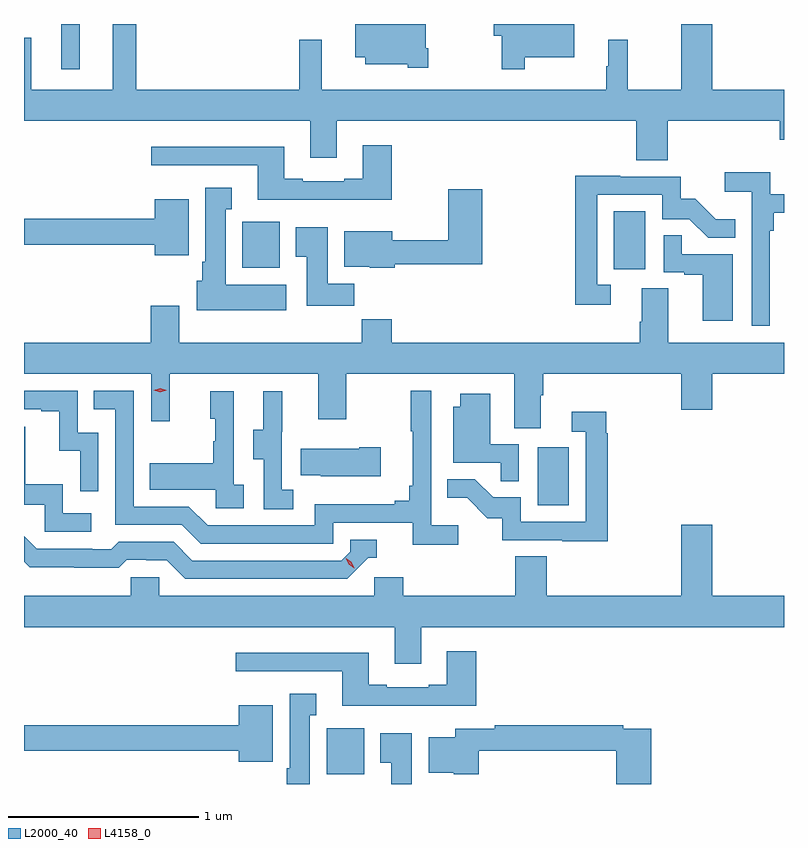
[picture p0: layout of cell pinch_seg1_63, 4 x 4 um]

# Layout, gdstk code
import gdstk
lib = gdstk.Library(unit=1e-6, precision=1e-09)
def R(c, l, rs):  # rectangles x0, y0, x1, y1
    for r in rs: c.add(gdstk.rectangle(r[:2], r[2:], *l))
def P(c, l, *ps):  # polygons
    for p in ps: c.add(gdstk.Polygon(p, *l))
L2000_40 = (2000, 40)
L4158_0 = (4158, 0)

pinch_seg1_63 = lib.new_cell('pinch_seg1_63')
R(pinch_seg1_63, L2000_40, [(1026.278,569.606,1026.475,569.848), (1027.388,571.02,1027.552,571.327), (1027.79,572.262,1027.954,572.569), (1025.834,572.27,1026.031,572.512), (1024.88,573.315,1024.978,573.554)])
P(pinch_seg1_63, L2000_40, [(1028.072,573.044),(1028.663,573.044),(1028.663,572.946),(1028.685,572.946),(1028.685,573.208),(1028.308,573.208),(1028.308,573.554),(1028.144,573.554),(1028.144,573.208),(1027.862,573.208),(1027.862,573.472),(1027.76,573.472),(1027.76,573.332),(1027.749,573.332),(1027.749,573.208),(1026.252,573.208),(1026.252,573.472),(1026.133,573.472),(1026.133,573.208),(1025.275,573.208),(1025.275,573.554),(1025.153,573.554),(1025.153,573.208),(1024.723,573.208),(1024.723,573.481),(1024.685,573.481),(1024.685,573.044),(1026.191,573.044),(1026.191,572.85),(1026.331,572.85),(1026.331,573.044),(1027.907,573.044),(1027.907,572.836),(1028.072,572.836)],
  [(1026.813,573.427),(1026.799,573.427),(1026.799,573.554),(1026.428,573.554),(1026.428,573.38),(1026.482,573.38),(1026.482,573.341),(1026.705,573.341),(1026.705,573.323),(1026.813,573.323)],
  [(1027.321,573.38),(1027.582,573.38),(1027.582,573.554),(1027.158,573.554),(1027.158,573.491),(1027.2,573.491),(1027.2,573.315),(1027.321,573.315)],
  [(1026.62,572.917),(1026.467,572.917),(1026.467,572.74),(1026.371,572.74),(1026.371,572.727),(1026.151,572.727),(1026.151,572.74),(1026.055,572.74),(1026.055,572.908),(1025.355,572.908),(1025.355,572.811),(1025.915,572.811),(1025.915,572.63),(1026.62,572.63)],
  [(1028.61,572.465),(1028.63,572.465),(1028.63,572.561),(1028.685,572.561),(1028.685,572.658),(1028.612,572.658),(1028.612,572.774),(1028.373,572.774),(1028.373,572.672),(1028.514,572.672),(1028.514,571.965),(1028.61,571.965)],
  [(1027.774,572.181),(1027.701,572.181),(1027.701,572.655),(1028.043,572.655),(1028.043,572.526),(1028.187,572.526),(1028.285,572.428),(1028.429,572.428),(1028.429,572.527),(1028.325,572.527),(1028.218,572.634),(1028.142,572.634),(1028.142,572.751),(1027.823,572.751),(1027.823,572.756),(1027.585,572.756),(1027.585,572.076),(1027.774,572.076)],
  [(1026.064,572.182),(1025.746,572.182),(1025.746,572.579),(1025.779,572.579),(1025.779,572.692),(1025.639,572.692),(1025.639,572.302),(1025.624,572.302),(1025.624,572.202),(1025.594,572.202),(1025.594,572.048),(1026.064,572.048)],
  [(1026.635,572.289),(1027.097,572.289),(1027.097,572.683),(1026.919,572.683),(1026.919,572.417),(1026.622,572.417),(1026.622,572.464),(1026.371,572.464),(1026.371,572.276),(1026.504,572.276),(1026.504,572.27),(1026.635,572.27)],
  [(1025.551,572.632),(1025.372,572.632),(1025.372,572.528),(1024.685,572.528),(1024.685,572.392),(1025.372,572.392),(1025.372,572.336),(1025.551,572.336)],
  [(1026.422,572.188),(1026.283,572.188),(1026.283,572.485),(1026.116,572.485),(1026.116,572.329),(1026.173,572.329),(1026.173,572.07),(1026.422,572.07)],
  [(1028.416,572.343),(1028.147,572.343),(1028.147,572.441),(1028.052,572.441),(1028.052,572.247),(1028.159,572.247),(1028.159,572.235),(1028.258,572.235),(1028.258,571.992),(1028.416,571.992)],
  [(1027.405,571.6),(1027.418,571.6),(1027.418,571.712),(1028.144,571.712),(1028.144,571.524),(1028.308,571.524),(1028.308,571.712),(1028.685,571.712),(1028.685,571.876),(1028.077,571.876),(1028.077,572.162),(1027.937,572.162),(1027.937,571.988),(1027.925,571.988),(1027.925,571.876),(1026.62,571.876),(1026.62,572),(1026.463,572),(1026.463,571.876),(1025.503,571.876),(1025.503,572.071),(1025.351,572.071),(1025.351,571.876),(1024.685,571.876),(1024.685,571.712),(1025.355,571.712),(1025.355,571.464),(1025.453,571.464),(1025.453,571.712),(1026.233,571.712),(1026.233,571.473),(1026.381,571.473),(1026.381,571.712),(1027.265,571.712),(1027.265,571.426),(1027.405,571.426)],
  [(1026.97,570.916),(1026.828,570.916),(1026.828,571.624),(1026.72,571.624),(1026.72,571.411),(1026.731,571.411),(1026.731,571.123),(1026.712,571.123),(1026.712,571.046),(1026.635,571.046),(1026.635,571.027),(1026.216,571.027),(1026.216,570.915),(1025.652,570.915),(1025.553,571.014),(1025.262,571.014),(1025.262,571.623),(1025.053,571.623),(1025.053,571.527),(1025.166,571.527),(1025.166,570.918),(1025.516,570.918),(1025.615,570.819),(1026.312,570.819),(1026.312,570.93),(1026.731,570.93),(1026.731,570.814),(1026.97,570.814)],
  [(1025.076,571.404),(1024.968,571.404),(1024.968,571.623),(1024.685,571.623),(1024.685,571.527),(1024.775,571.527),(1024.775,571.515),(1024.871,571.515),(1024.871,571.307),(1024.98,571.307),(1024.98,571.095),(1025.076,571.095)],
  [(1026.102,571.103),(1026.042,571.103),(1026.042,571.407),(1026.044,571.407),(1026.044,571.621),(1025.945,571.621),(1025.945,571.419),(1025.891,571.419),(1025.891,571.264),(1025.946,571.264),(1025.946,571),(1026.102,571)],
  [(1025.842,571.13),(1025.79,571.13),(1025.79,571.621),(1025.666,571.621),(1025.666,571.476),(1025.692,571.476),(1025.692,571.358),(1025.682,571.358),(1025.682,571.243),(1025.347,571.243),(1025.347,571.103),(1025.694,571.103),(1025.694,571.005),(1025.842,571.005)],
  [(1027.29,571.341),(1027.138,571.341),(1027.138,571.609),(1026.98,571.609),(1026.98,571.54),(1026.944,571.54),(1026.944,571.245),(1027.195,571.245),(1027.195,571.147),(1027.29,571.147)],
  [(1027.757,571.4),(1027.75,571.4),(1027.75,571.513),(1027.569,571.513),(1027.569,571.407),(1027.641,571.407),(1027.641,570.933),(1027.299,570.933),(1027.299,571.062),(1027.154,571.062),(1027.057,571.159),(1026.913,571.159),(1026.913,571.061),(1027.017,571.061),(1027.124,570.954),(1027.201,570.954),(1027.201,570.837),(1027.519,570.837),(1027.519,570.832),(1027.757,570.832)],
  [(1025.038,570.978),(1024.89,570.978),(1024.89,571.132),(1024.691,571.132),(1024.691,571.435),(1024.685,571.435),(1024.685,571.023),(1024.794,571.023),(1024.794,570.882),(1025.038,570.882)],
  [(1026.562,571.326),(1026.449,571.326),(1026.449,571.318),(1026.142,571.318),(1026.142,571.178),(1026.247,571.178),(1026.247,571.175),(1026.562,571.175)],
  [(1026.775,570.38),(1028.685,570.38),(1028.685,570.544),(1028.308,570.544),(1028.308,570.919),(1028.144,570.919),(1028.144,570.544),(1027.436,570.544),(1027.436,570.752),(1027.271,570.752),(1027.271,570.544),(1026.68,570.544),(1026.68,570.642),(1026.528,570.642),(1026.528,570.544),(1025.397,570.544),(1025.397,570.642),(1025.247,570.642),(1025.247,570.544),(1024.685,570.544),(1024.685,570.38),(1026.635,570.38),(1026.635,570.186),(1026.775,570.186)],
  [(1026.498,570.744),(1026.541,570.744),(1026.541,570.84),(1026.402,570.84),(1026.402,570.777),(1026.354,570.729),(1025.571,570.729),(1025.472,570.828),(1025.183,570.828),(1025.144,570.789),(1025.045,570.789),(1025.045,570.792),(1024.752,570.792),(1024.685,570.859),(1024.685,570.724),(1024.714,570.695),(1024.95,570.695),(1024.95,570.693),(1025.183,570.693),(1025.225,570.735),(1025.328,570.735),(1025.328,570.732),(1025.435,570.732),(1025.534,570.633),(1026.387,570.633)],
  [(1027.064,570.253),(1026.911,570.253),(1026.911,570.076),(1026.815,570.076),(1026.815,570.063),(1026.595,570.063),(1026.595,570.076),(1026.499,570.076),(1026.499,570.244),(1025.799,570.244),(1025.799,570.147),(1026.359,570.147),(1026.359,569.966),(1027.064,569.966)],
  [(1026.19,569.915),(1026.223,569.915),(1026.223,570.028),(1026.083,570.028),(1026.083,569.638),(1026.068,569.638),(1026.068,569.554),(1026.19,569.554)],
  [(1025.995,569.968),(1025.816,569.968),(1025.816,569.864),(1024.685,569.864),(1024.685,569.728),(1025.816,569.728),(1025.816,569.672),(1025.995,569.672)],
  [(1027.985,569.844),(1027.838,569.844),(1027.838,569.864),(1027.162,569.864),(1027.162,569.844),(1026.956,569.844),(1026.956,569.8),(1026.815,569.8),(1026.815,569.612),(1026.948,569.612),(1026.948,569.606),(1027.079,569.606),(1027.079,569.728),(1027.802,569.728),(1027.802,569.554),(1027.985,569.554)],
  [(1026.727,569.821),(1026.56,569.821),(1026.56,569.665),(1026.617,569.665),(1026.617,569.554),(1026.727,569.554)])
P(pinch_seg1_63, L4158_0, [(1025.402,571.617),(1025.367,571.627),(1025.367,571.627),(1025.367,571.627),(1025.402,571.637),(1025.437,571.627),(1025.437,571.627),(1025.437,571.627)],
  [(1026.424,570.69),(1026.393,570.71),(1026.378,570.742),(1026.378,570.743),(1026.378,570.743),(1026.408,570.723),(1026.424,570.69),(1026.424,570.69)])

lib.write_gds('pinch_seg1_63.gds')
